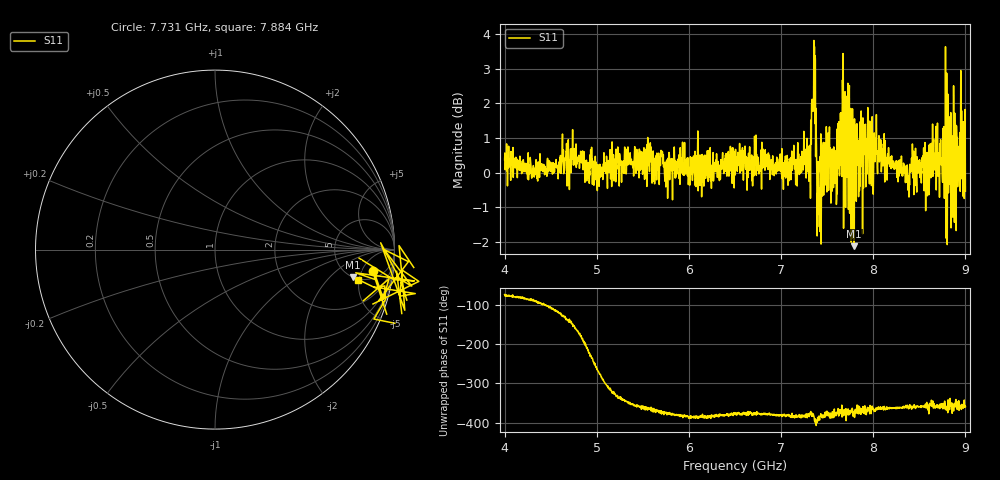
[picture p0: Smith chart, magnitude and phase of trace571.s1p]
! Created with skrf 1.8.0 (http://scikit-rf.org).
# Hz S RI R 50.0
!freq ReS11 ImS11
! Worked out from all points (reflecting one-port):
!   1601 points, 4 GHz to 9 GHz, reference 50 ohm
!   lowest |S11| = -2.1 dB at 7.794 GHz (marker M1), VSWR 8.25, Z = 251 - j199 ohm
!   phase of S11 starts at -75 deg and turns -285 deg over the sweep
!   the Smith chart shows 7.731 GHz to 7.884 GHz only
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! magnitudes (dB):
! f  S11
! 4 GHz  0.4
! 4.312 GHz  0.2
! 4.625 GHz  0.7
! 4.75 GHz  0.7
! 5.019 GHz  0.1
! 5.25 GHz  0.5
! 5.572 GHz  0.0
! 5.625 GHz  0.2
! 5.875 GHz  0.1
! 6.5 GHz  0.1
! 7.125 GHz  0.3
! 7.294 GHz  0.0
! 7.356 GHz  3.8
! 7.412 GHz  -0.5
! 7.512 GHz  1.2
! 7.584 GHz  -0.3
! 7.65 GHz  1.7
! 7.716 GHz  -0.1
! 7.75 GHz  -0.2
! 7.769 GHz  0.1
! 7.794 GHz  -2.1
! 7.822 GHz  0.4
! 7.928 GHz  0.6
! 8.375 GHz  -0.3
! 8.759 GHz  0.6
! 8.856 GHz  -0.5
! 8.959 GHz  1.8
! 9 GHz  -0.5
